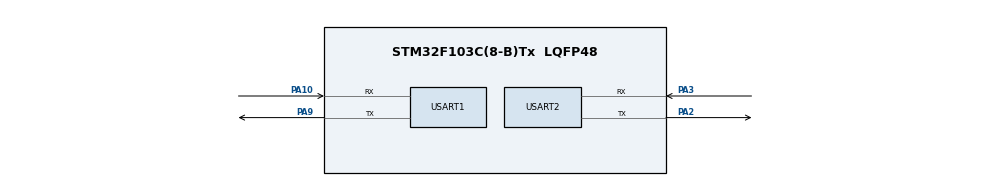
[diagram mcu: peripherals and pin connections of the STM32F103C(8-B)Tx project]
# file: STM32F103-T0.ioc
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Mcu.Family=STM32F1
Mcu.Name=STM32F103C(8-B)Tx
Mcu.Package=LQFP48
NVIC.PriorityGroup=NVIC_PRIORITYGROUP_4
PA10.Mode=Asynchronous
PA10.Signal=USART1_RX
PA13.Mode=Serial_Wire
PA13.Signal=SYS_JTMS-SWDIO
PA14.Mode=Serial_Wire
PA14.Signal=SYS_JTCK-SWCLK
PA2.Mode=Asynchronous
PA2.Signal=USART2_TX
PA3.Mode=Asynchronous
PA3.Signal=USART2_RX
PA9.Mode=Asynchronous
PA9.Signal=USART1_TX
ProjectManager.HeapSize=0x200
ProjectManager.StackSize=0x400
ProjectManager.TargetToolchain=STM32CubeIDE
RCC.APB1Freq_Value=8000000
RCC.APB2Freq_Value=8000000
USART1.VirtualMode=VM_ASYNC
USART2.VirtualMode=VM_ASYNC
board=custom

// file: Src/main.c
/* USER CODE BEGIN Header */
/**
  ******************************************************************************
  * @file           : main.c
  * @brief          : Main program body
  ******************************************************************************
  * @attention
  *
  * <h2><center>&copy; Copyright (c) 2019 STMicroelectronics.
  * All rights reserved.</center></h2>
  *
  * This software component is licensed by ST under BSD 3-Clause license,
  * the "License"; You may not use this file except in compliance with the
  * License. You may obtain a copy of the License at:
  *                        opensource.org/licenses/BSD-3-Clause
  *
  ******************************************************************************
  */

/* Includes ------------------------------------------------------------------*/
#include "main.h"
#include "menu.h"

/* UART handler declaration */
UART_HandleTypeDef UartHandle;

/* Private typedef -----------------------------------------------------------*/
/* Private define ------------------------------------------------------------*/
/* Private macro -------------------------------------------------------------*/
/* Private variables ---------------------------------------------------------*/
extern pFunction JumpToApplication;
extern uint32_t JumpAddress;

/* Private function prototypes -----------------------------------------------*/
static void IAP_Init(void);
void SystemClock_Config(void);

/* USER CODE END Header */

#include "main.h"

UART_HandleTypeDef huart1;
UART_HandleTypeDef huart2;

void SystemClock_Config(void);
static void MX_GPIO_Init(void);
static void MX_USART1_UART_Init(void);
static void MX_USART2_UART_Init(void);

int main(void)
{

  /* MCU Configuration--------------------------------------------------------*/

  /* Reset of all peripherals, Initializes the Flash interface and the Systick. */
  HAL_Init();

  /* Configure the system clock */
  SystemClock_Config();

  /* Initialize all configured peripherals */
  MX_GPIO_Init();
  MX_USART1_UART_Init();
  MX_USART2_UART_Init();
  /* USER CODE BEGIN 2 */

  /* Initialize Key Button mounted on STM3210C-EVAL RevC board */
//  BSP_PB_Init(BUTTON_KEY, BUTTON_MODE_GPIO);

  /* Test if Key push-button on STM3210C-EVAL RevC Board is pressed */
  if (BSP_PB_GetState(BUTTON_KEY) == GPIO_PIN_RESET)
  {
  	/* Initialise Flash */
  	FLASH_If_Init();
  	/* Execute the IAP driver in order to reprogram the Flash */
    IAP_Init();
    /* Display main menu */
    Main_Menu ();
  }
  /* Keep the user application running */
  else
  {
    /* Test if user code is programmed starting from address "APPLICATION_ADDRESS" */
    if (((*(__IO uint32_t*)APPLICATION_ADDRESS) & 0x2FFE0000 ) == 0x20000000)
    {
      /* Jump to user application */
      JumpAddress = *(__IO uint32_t*) (APPLICATION_ADDRESS + 4);
      JumpToApplication = (pFunction) JumpAddress;
      /* Initialize user application's Stack Pointer */
      __set_MSP(*(__IO uint32_t*) APPLICATION_ADDRESS);
      JumpToApplication();
    }
  }

  /* USER CODE END 2 */

  /* Infinite loop */
  while (1)
  {

  }
}

void SystemClock_Config(void)
{
  RCC_OscInitTypeDef RCC_OscInitStruct = {0};
  RCC_ClkInitTypeDef RCC_ClkInitStruct = {0};

  /** Initializes the CPU, AHB and APB busses clocks
  */
  RCC_OscInitStruct.OscillatorType = RCC_OSCILLATORTYPE_HSI;
  RCC_OscInitStruct.HSIState = RCC_HSI_ON;
  RCC_OscInitStruct.HSICalibrationValue = RCC_HSICALIBRATION_DEFAULT;
  RCC_OscInitStruct.PLL.PLLState = RCC_PLL_NONE;
  if (HAL_RCC_OscConfig(&RCC_OscInitStruct) != HAL_OK)
  {
    Error_Handler();
  }
  /** Initializes the CPU, AHB and APB busses clocks
  */
  RCC_ClkInitStruct.ClockType = RCC_CLOCKTYPE_HCLK|RCC_CLOCKTYPE_SYSCLK
                              |RCC_CLOCKTYPE_PCLK1|RCC_CLOCKTYPE_PCLK2;
  RCC_ClkInitStruct.SYSCLKSource = RCC_SYSCLKSOURCE_HSI;
  RCC_ClkInitStruct.AHBCLKDivider = RCC_SYSCLK_DIV1;
  RCC_ClkInitStruct.APB1CLKDivider = RCC_HCLK_DIV1;
  RCC_ClkInitStruct.APB2CLKDivider = RCC_HCLK_DIV1;

  if (HAL_RCC_ClockConfig(&RCC_ClkInitStruct, FLASH_LATENCY_0) != HAL_OK)
  {
    Error_Handler();
  }
}

static void MX_USART1_UART_Init(void)
{

  huart1.Instance = USART1;
  huart1.Init.BaudRate = 115200;
  huart1.Init.WordLength = UART_WORDLENGTH_8B;
  huart1.Init.StopBits = UART_STOPBITS_1;
  huart1.Init.Parity = UART_PARITY_NONE;
  huart1.Init.Mode = UART_MODE_TX_RX;
  huart1.Init.HwFlowCtl = UART_HWCONTROL_NONE;
  huart1.Init.OverSampling = UART_OVERSAMPLING_16;
  if (HAL_UART_Init(&huart1) != HAL_OK)
  {
    Error_Handler();
  }

}

static void MX_USART2_UART_Init(void)
{

  huart2.Instance = USART2;
  huart2.Init.BaudRate = 115200;
  huart2.Init.WordLength = UART_WORDLENGTH_8B;
  huart2.Init.StopBits = UART_STOPBITS_1;
  huart2.Init.Parity = UART_PARITY_NONE;
  huart2.Init.Mode = UART_MODE_TX_RX;
  huart2.Init.HwFlowCtl = UART_HWCONTROL_NONE;
  huart2.Init.OverSampling = UART_OVERSAMPLING_16;
  if (HAL_UART_Init(&huart2) != HAL_OK)
  {
    Error_Handler();
  }

}

static void MX_GPIO_Init(void)
{

  /* GPIO Ports Clock Enable */
  __HAL_RCC_GPIOA_CLK_ENABLE();

}

/* USER CODE BEGIN 4 */

/**
  * @brief  Initialize the IAP: Configure USART.
  * @param  None
  * @retval None
  */
void IAP_Init(void)
{
  /* USART resources configuration (Clock, GPIO pins and USART registers) ----*/
  /* USART configured as follow:
        - BaudRate = 115200 baud
        - Word Length = 8 Bits
        - One Stop Bit
        - No parity
        - Hardware flow control disabled (RTS and CTS signals)
        - Receive and transmit enabled
  */
  UartHandle.Init.BaudRate = 115200;
  UartHandle.Init.WordLength = UART_WORDLENGTH_8B;
  UartHandle.Init.StopBits = UART_STOPBITS_1;
  UartHandle.Init.Parity = UART_PARITY_NONE;
  UartHandle.Init.HwFlowCtl = UART_HWCONTROL_NONE;
  UartHandle.Init.Mode = UART_MODE_RX | UART_MODE_TX;
  if (HAL_UART_Init(&UartHandle) != HAL_OK)
  {
    Error_Handler();
  }

  //BSP_COM_Init(COM1, &UartHandle);

}
/* USER CODE END 4 */

void Error_Handler(void)
{
}

/************************ (C) COPYRIGHT STMicroelectronics *****END OF FILE****/
